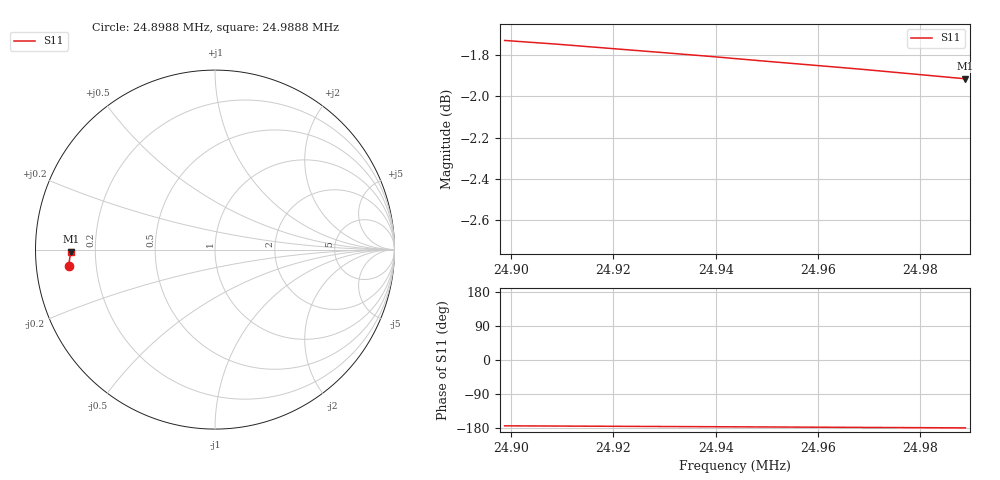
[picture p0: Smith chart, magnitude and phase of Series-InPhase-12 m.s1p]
# HZ S RI R 50
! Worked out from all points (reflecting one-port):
!   10 points, 24.8988 MHz to 24.9888 MHz, reference 50 ohm
!   lowest |S11| = -1.9 dB at 24.9888 MHz (marker M1), VSWR 9.11, Z = 5.49 - j0.365 ohm
!   phase of S11 starts at -174 deg and turns -5 deg over the sweep
2.489876e7  -0.8147 -0.0894
2.490876e7  -0.8139 -0.0812
2.491876e7  -0.8128 -0.073
2.492877e7  -0.8117 -0.0645
2.493877e7  -0.8104 -0.056
2.494878e7  -0.809 -0.0473
2.495878e7  -0.8075 -0.0386
2.496878e7  -0.8059 -0.0298
2.497879e7  -0.8041 -0.0209
2.498879e7  -0.8021 -0.0119
